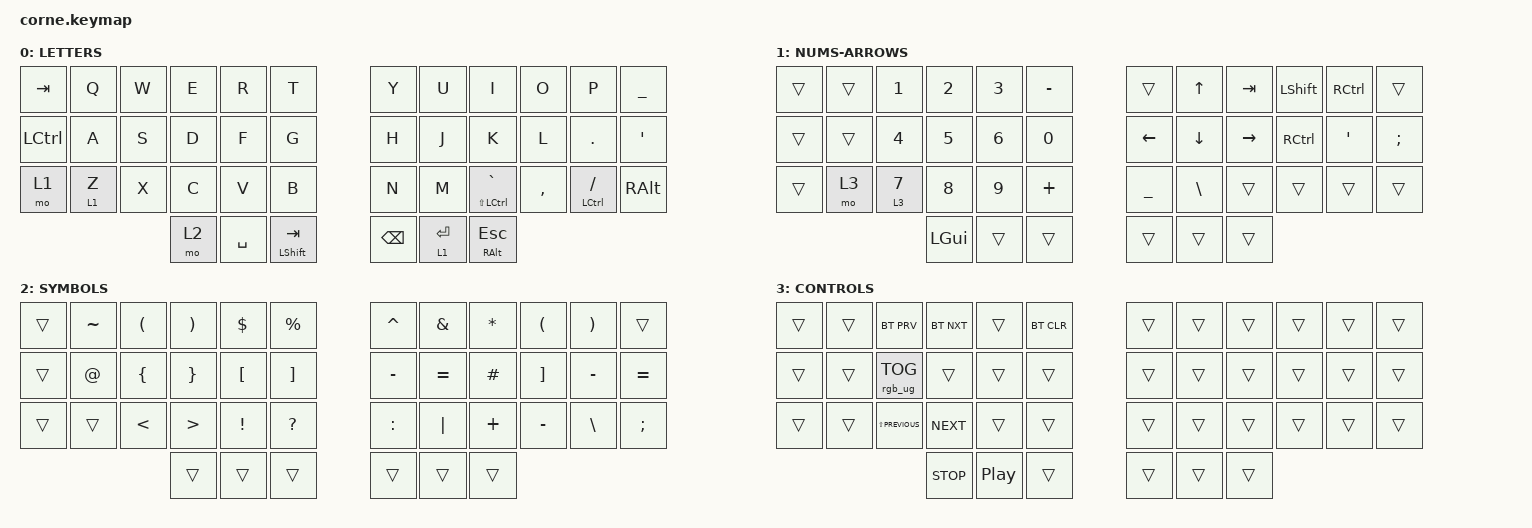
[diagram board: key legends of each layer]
/*
 * Copyright (c) 2020 The ZMK Contributors
 *
 * SPDX-License-Identifier: MIT
 */

#include <behaviors.dtsi>
#include <dt-bindings/zmk/bt.h>
#include <dt-bindings/zmk/keys.h>
#include <dt-bindings/zmk/rgb.h>

/ {
    keymap {
        compatible = "zmk,keymap";

        LETTERS {
            // -----------------------------------------------------------------------------------------
            // |  TAB |  Q  |  W  |  E  |  R  |  T  |   |  Y  |  U   |  I  |  O  |  P  | BKSP |
            // | CTRL |  A  |  S  |  D  |  F  |  G  |   |  H  |  J   |  K  |  L  |  ;  |  '   |
            // | SHFT |  Z  |  X  |  C  |  V  |  B  |   |  N  |  M   |  ,  |  .  |  /  | ESC  |
            //                    | GUI | LWR | SPC |   | ENT | RSE  | ALT |

            bindings = <
&kp TAB    &kp Q    &kp W  &kp E  &kp R      &kp T             &kp Y          &kp U        &kp I                &kp O      &kp P            &kp UNDERSCORE
&kp LCTRL  &kp A    &kp S  &kp D  &kp F      &kp G             &kp H          &kp J        &kp K                &kp L      &kp PERIOD       &kp SQT
&mo 1      &lt 1 Z  &kp X  &kp C  &kp V      &kp B             &kp N          &kp M        &mt LS(LCTRL) GRAVE  &kp COMMA  &mt LCTRL SLASH  &kp RIGHT_ALT
                           &mo 2  &kp SPACE  &mt LSHIFT TAB    &kp BACKSPACE  &lt 1 ENTER  &mt RALT ESC
            >;
        };

        NUMS-ARROWS {
            // -----------------------------------------------------------------------------------------
            // |  TAB |  1  |  2  |  3  |  4  |  5  |   |  6  |  7  |  8  |  9  |  0  | BKSP |
            // | BTCLR| BT1 | BT2 | BT3 | BT4 | BT5 |   | LFT | DWN |  UP | RGT |     |      |
            // | SHFT |     |     |     |     |     |   |     |     |     |     |     |      |
            //                    | GUI |     | SPC |   | ENT |     | ALT |

            bindings = <
&trans  &trans  &kp NUMBER_1  &kp NUMBER_2  &kp NUMBER_3  &kp MINUS    &trans          &kp UP_ARROW   &kp TAB    &kp LEFT_SHIFT  &kp RCTRL         &trans
&trans  &trans  &kp NUMBER_4  &kp NUMBER_5  &kp NUMBER_6  &kp N0       &kp LEFT        &kp DOWN       &kp RIGHT  &kp RCTRL       &kp SINGLE_QUOTE  &kp SEMI
&trans  &mo 3   &lt 3 N7      &kp N8        &kp N9        &kp PLUS     &kp UNDERSCORE  &kp BACKSLASH  &trans     &trans          &trans            &trans
                              &kp LEFT_GUI  &trans        &trans       &trans          &trans         &trans
            >;
        };

        SYMBOLS {
            // -----------------------------------------------------------------------------------------
            // |  TAB |  !  |  @  |  #  |  $  |  %  |   |  ^  |  &  |  *  |  (  |  )  | BKSP |
            // | CTRL |     |     |     |     |     |   |  -  |  =  |  [  |  ]  |  \  |  `   |
            // | SHFT |     |     |     |     |     |   |  _  |  +  |  {  |  }  | "|" |  ~   |
            //                    | GUI |     | SPC |   | ENT |     | ALT |

            bindings = <
&trans  &kp TILDE    &kp LEFT_PARENTHESIS  &kp RIGHT_PARENTHESIS  &kp DOLLAR        &kp PRCNT            &kp CARET  &kp AMPS   &kp ASTERISK  &kp LPAR   &kp RPAR       &trans
&trans  &kp AT_SIGN  &kp LEFT_BRACE        &kp RIGHT_BRACE        &kp LEFT_BRACKET  &kp RIGHT_BRACKET    &kp MINUS  &kp EQUAL  &kp HASH      &kp RBKT   &kp MINUS      &kp EQUAL
&trans  &trans       &kp LESS_THAN         &kp GREATER_THAN       &kp EXCLAMATION   &kp QUESTION         &kp COLON  &kp PIPE   &kp PLUS      &kp MINUS  &kp BACKSLASH  &kp SEMI
                                           &trans                 &trans            &trans               &trans     &trans     &trans
            >;
        };

        CONTROLS {
            bindings = <
&trans  &trans  &bt BT_PRV          &bt BT_NXT  &trans            &bt BT_CLR    &trans  &trans  &trans  &trans  &trans  &trans
&trans  &trans  &rgb_ug RGB_TOG     &trans      &trans            &trans        &trans  &trans  &trans  &trans  &trans  &trans
&trans  &trans  &kp LS(C_PREVIOUS)  &kp C_NEXT  &trans            &trans        &trans  &trans  &trans  &trans  &trans  &trans
                                    &kp C_STOP  &kp C_PLAY_PAUSE  &trans        &trans  &trans  &trans
            >;
        };
    };
};
